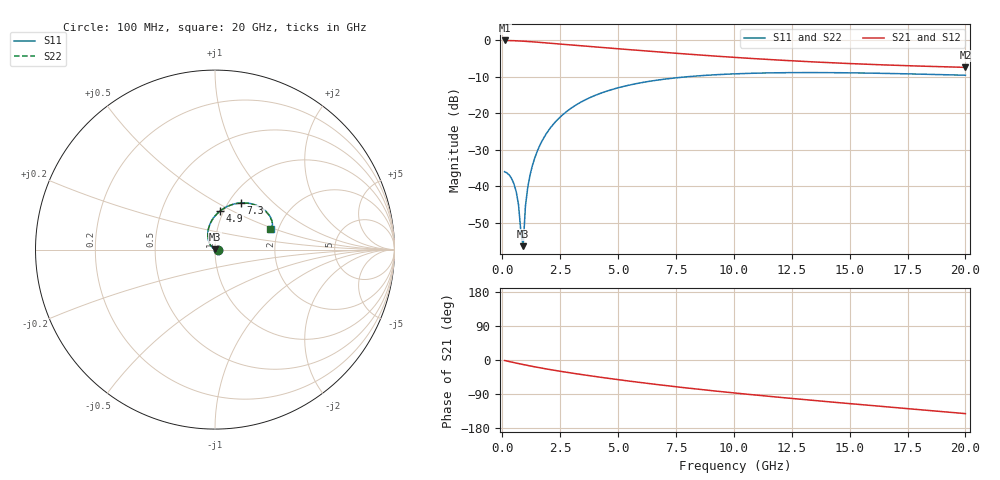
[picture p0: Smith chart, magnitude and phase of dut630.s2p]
! Touchstone file exported from HFSS 2024.1.0
!  File:  C:/UserFiles/LocalFiles/RDL_TSV_Batchsim/temp_RDL_TSV_630_1779804032.aedt
!  Generated:  10:15:45 PM May 26, 2026
!  Design:  RDL_TSV
!  Project:  temp_RDL_TSV_630_1779804032
!  Setup:  Setup1
!  Solution:  Sweep
! Variables:
!  dtsv = 12.18um
!  hbump = 3um
!  htsv = 70.56um
!  ldown = 378.51um
!  lrdl = 138um
!  p = 40
!  p1 = 48.34um
!  rhole = 10um
!  subl = 1687.53um
!  t = 450um
!  tdown = 2.76um
!  trdl = 4.52um
!  viad = 10um
!  wdown = 12.4um
!  wrdl = 10.38um
!  xbump = 18um
# GHz S MA R 50.000000
! Terminal data exported
! Port[1] = TM1_1_T1
! Port[2] = TM1_4_T1
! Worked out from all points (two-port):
!   200 points, 100 MHz to 20 GHz, reference 50 ohm
!   highest |S21| = -0.14 dB at 100 MHz (marker M1); lowest = -7.5 dB at 20 GHz (marker M2)
!   |S21| within 3 dB of the highest: start of sweep to 6.466 GHz
!   lowest |S11| = -56.4 dB at 900 MHz (marker M3), VSWR 1.00, Z = 49.9 + j0.122 ohm
!   |S11| at or under -10 dB: start of sweep to 8.101 GHz
!   |S22| runs from -56.5 to -8.9 dB; largest |S21 - S12| = 2.5e-14
!   S11 on the Smith chart (normalised r, x): 100 MHz: 1.03, -0.00; 4.9 GHz: 0.96, +0.44; 7.3 GHz: 1.14, +0.65; 20 GHz: 1.82, +0.46
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0.1  0.01581 -1.8  0.9836 -1.4  0.9836 -1.4  0.01581 -1.8
! Gamma 0 0 0 0
! Port Impedance 50 0 50 0
0.4  0.01278 -8.0  0.9788 -5.5  0.9788 -5.5  0.01279 -8.0
0.6  0.008462 -11.6  0.9731 -8.1  0.9731 -8.1  0.008471 -11.6
0.7  0.005633 -11.9  0.9696 -9.4  0.9696 -9.4  0.005646 -11.9
0.8  0.002435 -4.6  0.9659 -10.7  0.9659 -10.7  0.002451 -4.7
0.9  0.001518 126.2  0.9618 -12.0  0.9618 -12.0  0.001502 125.6
1  0.005385 144.5  0.9574 -13.2  0.9574 -13.2  0.00536 144.4
1.1  0.00969 145.3  0.9528 -14.5  0.9528 -14.5  0.00966 145.2
1.2  0.0143 144.0  0.9479 -15.7  0.9479 -15.7  0.01426 144.0
1.3  0.01917 142.2  0.9429 -16.8  0.9429 -16.8  0.01913 142.1
1.5  0.02957 137.9  0.9325 -19.2  0.9325 -19.2  0.02951 137.9
1.9  0.05224 129.2  0.9109 -23.6  0.9109 -23.6  0.05215 129.2
2.3  0.07622 121.0  0.8891 -27.7  0.8891 -27.7  0.07609 121.0
2.8  0.1065 111.8  0.8624 -32.6  0.8624 -32.6  0.1063 111.7
3.5  0.1471 100.5  0.827 -39.1  0.827 -39.1  0.1469 100.4
4.9  0.2173 82.5  0.7618 -51.0  0.7618 -51.0  0.2169 82.4
6.8  0.2854 64.5  0.6834 -65.6  0.6834 -65.6  0.2848 64.4
7.3  0.2986 60.6  0.6647 -69.2  0.6647 -69.2  0.298 60.6
10.1  0.3446 43.7  0.5754 -87.5  0.5754 -87.5  0.3438 43.6
13.4  0.358 30.8  0.5015 -106.5  0.5015 -106.5  0.357 30.8
16.7  0.3482 23.3  0.4532 -124.1  0.4532 -124.1  0.347 23.2
20  0.3295 20.2  0.4219 -141.5  0.4219 -141.5  0.3282 20.1
